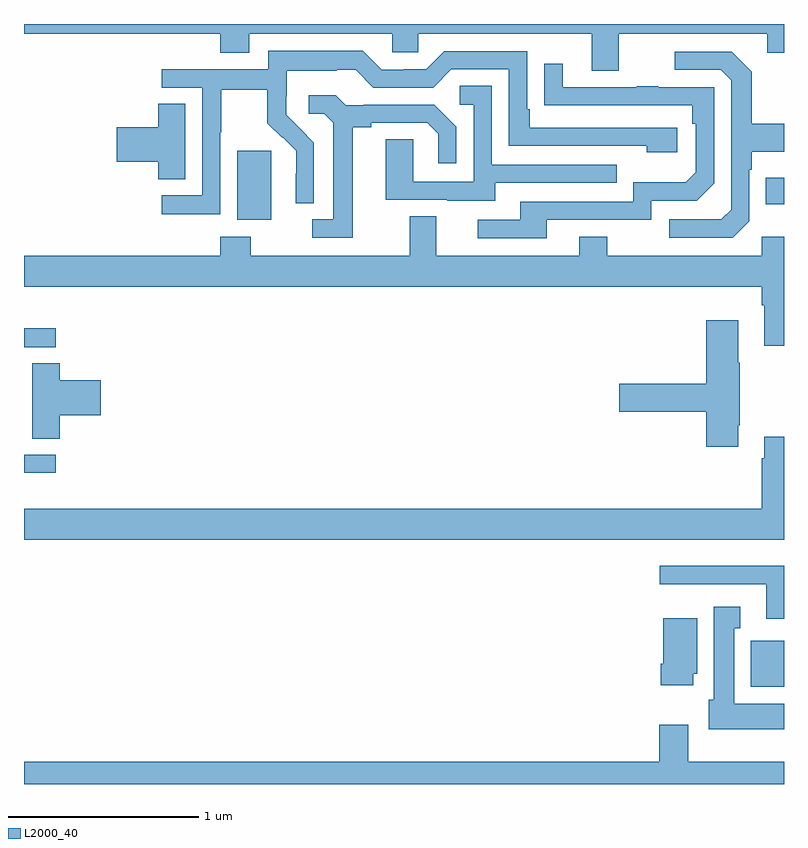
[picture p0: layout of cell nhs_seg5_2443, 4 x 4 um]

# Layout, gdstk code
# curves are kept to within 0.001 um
import gdstk
lib = gdstk.Library(unit=1e-6, precision=1e-09)
def R(c, l, rs):  # rectangles x0, y0, x1, y1
    for r in rs: c.add(gdstk.rectangle(r[:2], r[2:], *l))
def P(c, l, *ps):  # polygons
    for p in ps: c.add(gdstk.Polygon(p, *l))
L2000_40 = (2000, 40)

nhs_seg5_2443 = lib.new_cell('nhs_seg5_2443')
R(nhs_seg5_2443, L2000_40, [(256.826,865.31,257,865.552), (253,866.436,253.168,866.532), (253,867.099,253.168,867.198), (254.123,867.77,254.302,868.131), (256.903,867.851,257,867.991)])
P(nhs_seg5_2443, L2000_40, [(256.129,868.748),(256.913,868.748),(256.913,868.649),(257,868.649),(257,868.799),(253,868.799),(253,868.748),(254.033,868.748),(254.033,868.649),(254.185,868.649),(254.185,868.748),(254.937,868.748),(254.937,868.65),(255.075,868.65),(255.075,868.748),(255.989,868.748),(255.989,868.554),(256.129,868.554)],
  [(254.034,868.228),(254.037,868.228),(254.037,868.452),(254.281,868.452),(254.281,868.277),(254.358,868.2),(254.361,868.203),(254.432,868.133),(254.432,868.01),(254.43,868.01),(254.43,867.856),(254.526,867.856),(254.526,868.174),(254.38,868.322),(254.38,868.419),(254.382,868.419),(254.382,868.553),(254.645,868.553),(254.645,868.557),(254.745,868.557),(254.838,868.464),(255.153,868.464),(255.249,868.56),(255.552,868.56),(255.552,868.158),(256.277,868.158),(256.277,868.124),(256.438,868.124),(256.438,868.254),(255.661,868.254),(255.661,868.351),(255.648,868.351),(255.648,868.656),(255.213,868.656),(255.117,868.56),(254.999,868.56),(254.999,868.557),(254.883,868.557),(254.783,868.657),(254.286,868.657),(254.286,868.56),(253.725,868.56),(253.725,868.464),(253.938,868.464),(253.938,867.897),(253.725,867.897),(253.725,867.799),(254.034,867.799)],
  [(256.818,867.762),(256.818,868.031),(256.831,868.031),(256.831,868.127),(257,868.127),(257,868.275),(256.831,868.275),(256.831,868.547),(256.725,868.653),(256.425,868.653),(256.425,868.557),(256.668,868.557),(256.722,868.503),(256.722,867.822),(256.671,867.771),(256.395,867.771),(256.395,867.675),(256.731,867.675)],
  [(255.751,867.768),(256.302,867.768),(256.302,867.87),(256.542,867.87),(256.632,867.96),(256.632,868.467),(256.337,868.467),(256.337,868.472),(256.225,868.472),(256.225,868.467),(255.835,868.467),(255.835,868.591),(255.739,868.591),(255.739,868.372),(256.516,868.371),(256.516,868.274),(256.536,868.274),(256.536,868.02),(256.483,867.967),(256.206,867.967),(256.206,867.864),(255.611,867.864),(255.611,867.768),(255.387,867.768),(255.387,867.672),(255.751,867.672)],
  [(255.481,867.963),(256.121,867.963),(256.121,868.059),(255.462,868.059),(255.462,868.475),(255.294,868.475),(255.294,868.374),(255.366,868.374),(255.366,867.969),(255.048,867.969),(255.048,868.193),(254.903,868.193),(254.903,867.873),(255.227,867.873),(255.227,867.869),(255.481,867.869)],
  [(254.731,868.256),(254.827,868.256),(254.827,868.278),(255.122,868.278),(255.179,868.221),(255.179,868.065),(255.276,868.065),(255.276,868.258),(255.16,868.374),(254.788,868.374),(254.788,868.371),(254.694,868.371),(254.642,868.423),(254.499,868.423),(254.499,868.326),(254.58,868.326),(254.627,868.279),(254.627,867.771),(254.517,867.771),(254.517,867.675),(254.731,867.675)],
  [(253.849,868.379),(253.706,868.379),(253.706,868.256),(253.488,868.256),(253.488,868.073),(253.706,868.073),(253.706,867.982),(253.849,867.982)],
  [(257,867.679),(256.884,867.679),(256.884,867.58),(256.071,867.58),(256.071,867.679),(255.923,867.679),(255.923,867.58),(255.169,867.58),(255.169,867.788),(255.029,867.788),(255.029,867.58),(254.193,867.58),(254.193,867.679),(254.033,867.679),(254.033,867.58),(253,867.58),(253,867.416),(256.883,867.416),(256.883,867.32),(256.895,867.32),(256.895,867.105),(257,867.105)],
  [(256.759,866.686),(256.767,866.686),(256.767,867.017),(256.759,867.017),(256.759,867.241),(256.592,867.241),(256.592,866.906),(256.134,866.906),(256.134,866.759),(256.592,866.759),(256.592,866.574),(256.759,866.574)],
  [(253.187,866.741),(253.405,866.741),(253.405,866.924),(253.187,866.924),(253.187,867.014),(253.043,867.014),(253.043,866.617),(253.187,866.617)],
  [(257,866.626),(256.895,866.626),(256.895,866.513),(256.883,866.513),(256.883,866.248),(253,866.248),(253,866.084),(257,866.084)],
  [(257,865.948),(256.347,865.948),(256.347,865.851),(256.907,865.851),(256.907,865.67),(257,865.67)],
  [(257,865.222),(256.738,865.222),(256.738,865.619),(256.771,865.619),(256.771,865.732),(256.631,865.732),(256.631,865.242),(256.604,865.242),(256.604,865.088),(257,865.088)],
  [(256.522,865.38),(256.543,865.38),(256.543,865.672),(256.364,865.672),(256.364,865.432),(256.352,865.432),(256.352,865.32),(256.522,865.32)],
  [(257,864.916),(256.495,864.916),(256.495,865.111),(256.343,865.111),(256.343,864.916),(253,864.916),(253,864.799),(257,864.799)])

lib.write_gds('nhs_seg5_2443.gds')
